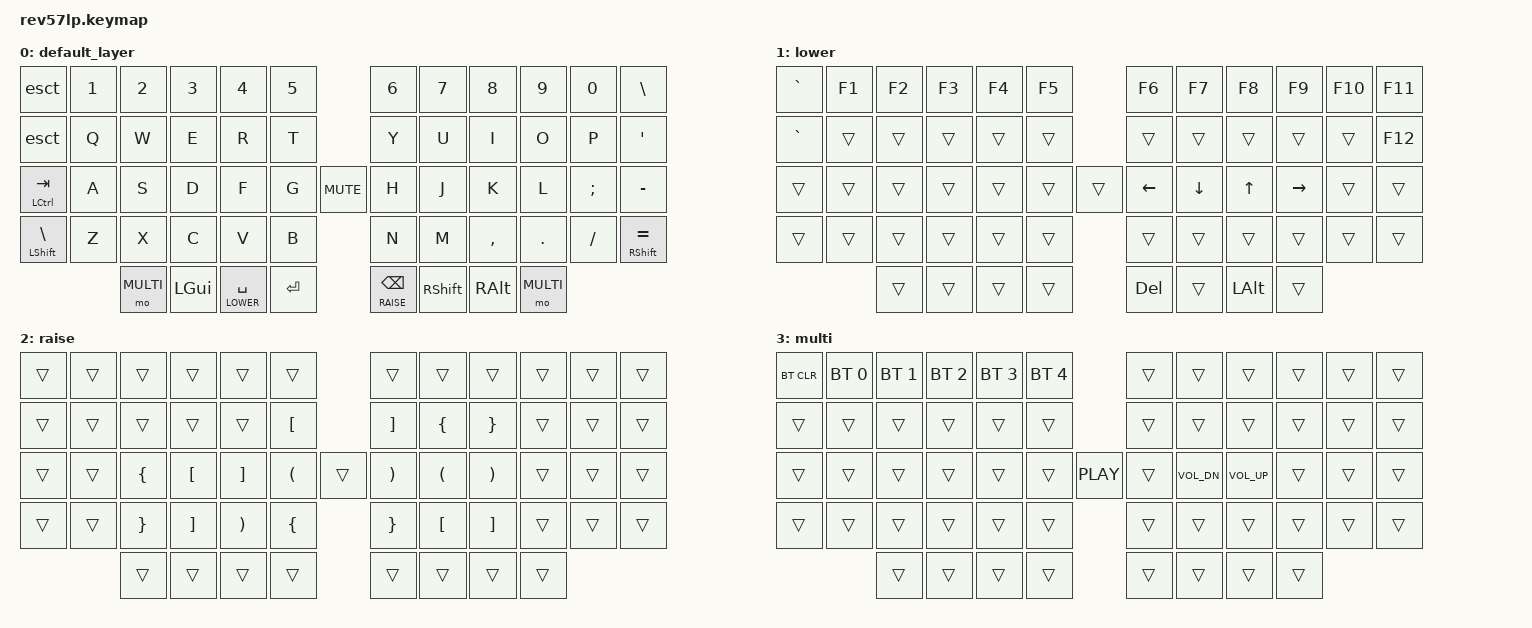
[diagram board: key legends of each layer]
/*
 * Copyright (c) 2022 The ZMK Contributors
 *
 * SPDX-License-Identifier: MIT
 */

#include <behaviors.dtsi>
#include <dt-bindings/zmk/keys.h>
#include <dt-bindings/zmk/bt.h>

#define DEFAULT 0
#define LOWER   1
#define RAISE   2
#define MULTI   3

&lt {
 quick-tap-ms = <200>;
};

/ {
    behaviors {
        esct: esc_tilde {
            compatible = "zmk,behavior-mod-morph";
            #binding-cells = <0>;
            bindings = <&kp ESC>, <&kp GRAVE>;
            mods = <(MOD_LSFT|MOD_RSFT)>;
            keep-mods = <(MOD_RSFT)>;
        };
    };

    keymap {
        compatible = "zmk,keymap";
        default_layer {
            bindings = <
                &esct             &kp N1     &kp N2    &kp N3    &kp N4     &kp N5                             &kp N6     &kp N7     &kp N8     &kp N9    &kp N0     &kp BSLH
                &esct             &kp Q      &kp W     &kp E     &kp R      &kp T                              &kp Y      &kp U      &kp I      &kp O     &kp P      &kp SQT
                &mt LCTL TAB      &kp A      &kp S     &kp D     &kp F      &kp G          &kp C_MUTE          &kp H      &kp J      &kp K      &kp L     &kp SEMI   &kp MINUS
                &mt LSHIFT BSLH   &kp Z      &kp X     &kp C     &kp V      &kp B                              &kp N      &kp M      &kp COMMA  &kp DOT   &kp SLASH  &mt RSHIFT EQUAL
                                                  &mo MULTI  &kp LGUI  &lt LOWER SPACE  &kp RET   &lt RAISE BSPC  &kp RSHIFT  &kp RALT  &mo MULTI
                >;
        };
        lower {
            bindings = <
                &kp GRAVE  &kp F1  &kp F2  &kp F3  &kp F4  &kp F5                  &kp F6     &kp F7     &kp F8   &kp F9     &kp F10  &kp F11
                &kp GRAVE  &trans  &trans  &trans  &trans  &trans                  &trans     &trans     &trans   &trans     &trans   &kp F12
                &trans     &trans  &trans  &trans  &trans  &trans    &trans        &kp LEFT   &kp DOWN   &kp UP   &kp RIGHT  &trans   &trans
                &trans     &trans  &trans  &trans  &trans  &trans                  &trans     &trans     &trans   &trans     &trans   &trans
                                        &trans  &trans  &trans  &trans       &kp DEL &trans  &kp LALT  &trans
                >;
        };
        raise {
            bindings = <
                &trans  &trans  &trans    &trans    &trans   &trans                         &trans  &trans    &trans    &trans    &trans  &trans
                &trans  &trans  &trans    &trans    &trans   &kp LBKT                       &kp RBKT  &kp LBRC  &kp RBRC  &trans    &trans  &trans
                &trans  &trans  &kp LBRC  &kp LBKT  &kp RBKT &kp LPAR             &trans    &kp RPAR  &kp LPAR  &kp RPAR  &trans  &trans  &trans
                &trans  &trans  &kp RBRC  &kp RBKT  &kp RPAR &kp LBRC                       &kp RBRC  &kp LBKT  &kp RBKT  &trans  &trans  &trans
                                        &trans  &trans  &trans  &trans               &trans &trans  &trans  &trans
                >;
        };
        multi {
            bindings = <
                &bt BT_CLR  &bt BT_SEL 0  &bt BT_SEL 1  &bt BT_SEL 2 &bt BT_SEL 3  &bt BT_SEL 4            &trans  &trans        &trans        &trans  &trans  &trans
                &trans      &trans        &trans        &trans       &trans        &trans                  &trans  &trans        &trans        &trans  &trans  &trans
                &trans      &trans        &trans        &trans       &trans        &trans    &kp C_PLAY    &trans  &kp C_VOL_DN  &kp C_VOL_UP  &trans  &trans  &trans
                &trans      &trans        &trans        &trans       &trans        &trans                  &trans  &trans        &trans        &trans  &trans  &trans
                                                            &trans  &trans  &trans  &trans    &trans &trans  &trans  &trans
                >;
        };
    };
};

